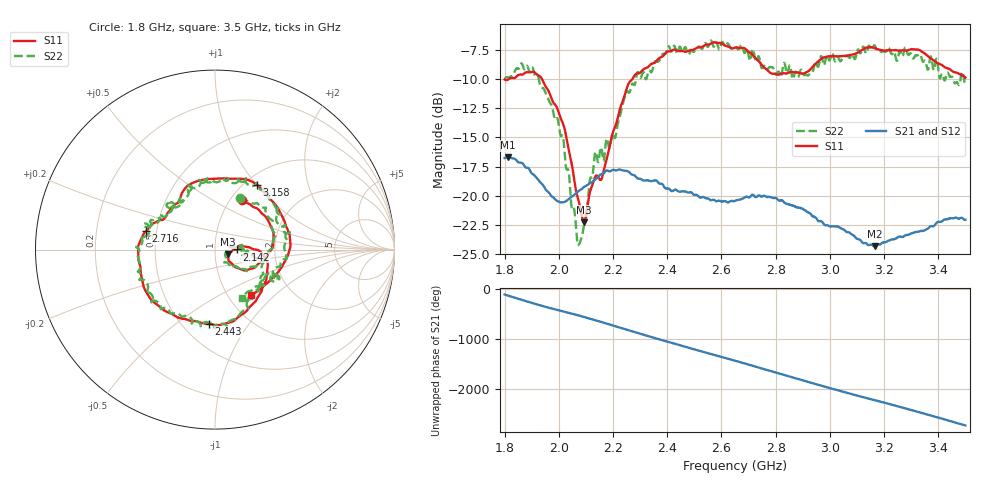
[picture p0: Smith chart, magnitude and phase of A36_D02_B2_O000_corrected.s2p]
! Created with skrf 1.9.0 (http://scikit-rf.org).
# Hz S RI R 50.0
!freq ReS11 ImS11 ReS21 ImS21 ReS12 ImS12 ReS22 ImS22
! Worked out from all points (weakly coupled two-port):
!   1601 points, 1.8 GHz to 3.5 GHz, reference 50 ohm
!   highest |S21| = -16.70 dB at 1.812 GHz (marker M1); lowest = -24.3 dB at 3.165 GHz (marker M2)
!   lowest |S11| = -22.3 dB at 2.093 GHz (marker M3), VSWR 1.17, Z = 57.7 - j3.03 ohm
!   |S11| at or under -10 dB: start of sweep to 1.817 GHz; 1.937 GHz to 2.272 GHz (334.6 MHz wide, 15.9 % of centre)
!   |S22| runs from -24.2 to -6.7 dB; largest |S21 - S12| = 0.0025
!   S11 on the Smith chart (normalised r, x): 1.8 GHz: 1.13, +0.69; 2.142 GHz: 1.28, +0.00; 2.443 GHz: 0.67, -0.67; 2.716 GHz: 0.44, +0.11; 3.158 GHz: 1.14, +1.01; 3.5 GHz: 1.27, -0.71
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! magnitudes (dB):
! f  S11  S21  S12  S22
! 1.8 GHz  -10.1  -16.8  -16.8  -10.0
! 1.812 GHz  -10.1  -16.7  -16.7  -9.9
! 1.901 GHz  -9.4  -18.1  -18.0  -9.0
! 1.952 GHz  -10.7  -19.5  -19.4  -11.3
! 2.019 GHz  -14.1  -20.5  -20.6  -15.6
! 2.07 GHz  -20.2  -19.6  -19.7  -24.2
! 2.084 GHz  -21.6  -19.4  -19.4  -23.5
! 2.093 GHz  -22.3  -19.2  -19.3  -22.5
! 2.142 GHz  -18.3  -18.5  -18.4  -16.9
! 2.161 GHz  -18.3  -18.1  -18.0  -16.6
! 2.209 GHz  -14.0  -17.8  -17.8  -15.0
! 2.258 GHz  -10.4  -17.9  -17.9  -11.2
! 2.367 GHz  -8.3  -18.9  -18.8  -8.5
! 2.443 GHz  -7.6  -19.6  -19.6  -7.4
! 2.65 GHz  -7.4  -20.4  -20.4  -7.3
! 2.716 GHz  -8.0  -19.9  -19.9  -7.5
! 2.789 GHz  -9.6  -20.2  -20.2  -9.0
! 2.934 GHz  -9.1  -21.7  -21.7  -9.5
! 3.158 GHz  -7.3  -24.2  -24.2  -7.4
! 3.165 GHz  -7.4  -24.3  -24.3  -7.2
! 3.217 GHz  -7.6  -23.8  -23.8  -7.4
! 3.5 GHz  -9.9  -22.0  -22.0  -10.3
